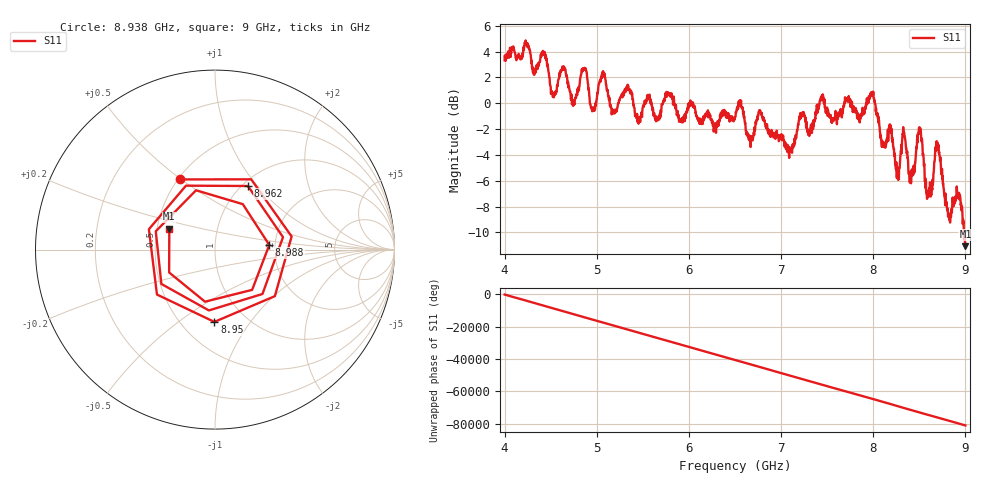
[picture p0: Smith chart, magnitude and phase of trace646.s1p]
! Created with skrf 1.8.0 (http://scikit-rf.org).
# Hz S RI R 50.0
!freq ReS11 ImS11
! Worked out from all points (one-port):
!   1601 points, 4 GHz to 9 GHz, reference 50 ohm
!   lowest |S11| = -11.1 dB at 9 GHz (marker M1), VSWR 1.78, Z = 29 + j7.3 ohm
!   |S11| at or under -10 dB: 8.982785 GHz to end of sweep
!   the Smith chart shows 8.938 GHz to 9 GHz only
!   S11 on the Smith chart (normalised r, x): 8.938 GHz: 0.51, +0.50; 8.95 GHz: 0.72, -0.69; 8.962 GHz: 1.06, +0.89; 8.988 GHz: 1.86, +0.11; 9 GHz: 0.58, +0.15
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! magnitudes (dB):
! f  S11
! 4 GHz  3.3
! 4.425 GHz  3.8
! 4.528 GHz  0.6
! 4.625 GHz  2.7
! 4.744 GHz  -0.2
! 4.862 GHz  2.7
! 4.956 GHz  -0.5
! 5.066 GHz  2.2
! 5.172 GHz  -0.5
! 5.25 GHz  0.4
! 5.875 GHz  -0.9
! 6.5 GHz  -1.1
! 7.125 GHz  -3.2
! 7.444 GHz  0.6
! 7.75 GHz  0.2
! 7.991 GHz  0.8
! 8.106 GHz  -3.2
! 8.375 GHz  -4.2
! 8.425 GHz  -5.6
! 8.503 GHz  -2.4
! 8.6 GHz  -7.3
! 8.697 GHz  -3.1
! 8.812 GHz  -8.8
! 8.938 GHz  -7.2
! 8.95 GHz  -7.9
! 8.962 GHz  -8.0
! 8.988 GHz  -10.4
! 9 GHz  -11.1
